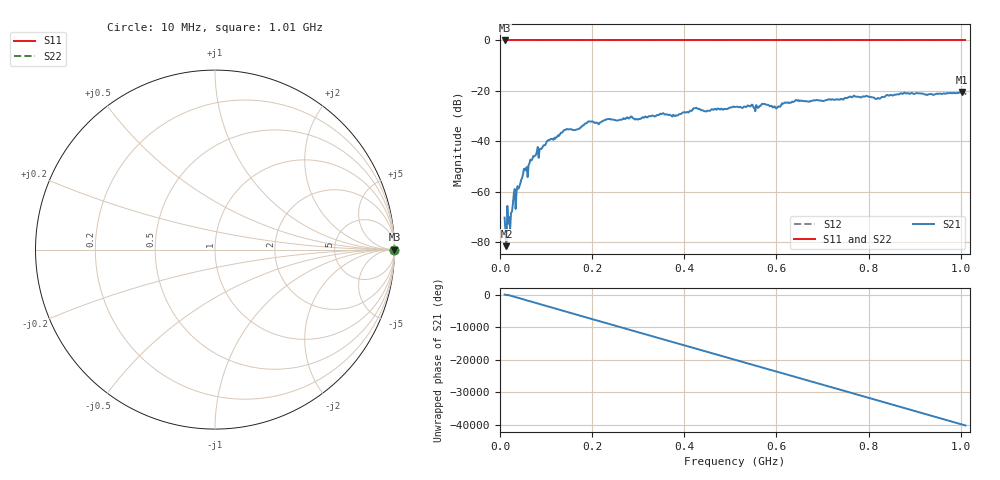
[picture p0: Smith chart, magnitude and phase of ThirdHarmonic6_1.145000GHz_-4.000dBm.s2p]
! 8/16/2025 11:17:41 AM
! C:\ANRITSUVNA\TEMP\TEMP.S2P
! CHANNEL.1
! TR.MEASUREMENT
! RAW.DATA
! RF.CORRECTION.OFF
! AVERAGING.OFF
! IF.BANDWIDTH: 5KHZ
! SWEEPTYPE:  FREQ.SWEEP(Linear)
! Reference Plane Port Info
! PORT:  PORT1  PORT2
! DISTANCE:  0  m  0  m
! TIME:  0  s  0  s
! PHASE.OFFSET:  0  deg.  0  deg.
! LOSS:  0  dB  0  dB
! REF.LOSS:  0  dB  0  dB
! REF.FREQ:  0  Hz  0  Hz
! Power Info
! POWER:  -20  dBm  -20  dBm
! EFF.POWER:  -20  dBm  -20  dBm
! SOURCE.ATTEN:  0  dB  0  dB
! TEST.ATTEN:  0  dB  0  dB
# GHZ S RI R 50.0
! FREQ.GHZ  S11RE  S11IM  S21RE  S21IM  S12RE  S12IM  S22RE  S22IM
!; PortSelection: Port_12
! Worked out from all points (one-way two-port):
!   501 points, 10 MHz to 1.01 GHz, reference 50 ohm
!   highest |S21| = -20.48 dB at 1.002 GHz (marker M1); lowest = -81.7 dB at 14 MHz (marker M2)
!   lowest |S11| = 0.0 dB at 10 MHz (marker M3)
!   |S11| at or under -10 dB: nowhere
!   |S22| runs from 0.0 to 0.0 dB; largest |S21 - S12| = 1.1
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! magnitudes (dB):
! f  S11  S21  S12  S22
! 10 MHz  0.0  -70.3  0.0  0.0
! 14 MHz  0.0  -81.7  0.0  0.0
! 22 MHz  0.0  -74.9  0.0  0.0
! 28 MHz  0.0  -64.9  0.0  0.0
! 38 MHz  0.0  -57.9  0.0  0.0
! 50 MHz  0.0  -53.1  0.0  0.0
! 78 MHz  0.0  -45.6  0.0  0.0
! 106 MHz  0.0  -39.5  0.0  0.0
! 142 MHz  0.0  -35.5  0.0  0.0
! 178 MHz  0.0  -34.1  0.0  0.0
! 196 MHz  0.0  -32.2  0.0  0.0
! 344 MHz  0.0  -29.7  0.0  0.0
! 424 MHz  0.0  -26.9  0.0  0.0
! 510 MHz  0.0  -26.4  0.0  0.0
! 556 MHz  0.0  -25.7  0.0  0.0
! 572 MHz  0.0  -25.2  0.0  0.0
! 602 MHz  0.0  -26.6  0.0  0.0
! 644 MHz  0.0  -23.8  0.0  0.0
! 678 MHz  0.0  -24.0  0.0  0.0
! 844 MHz  0.0  -21.9  0.0  0.0
! 1.002 GHz  0.0  -20.5  0.0  0.0
! 1.01 GHz  0.0  -21.2  0.0  0.0
